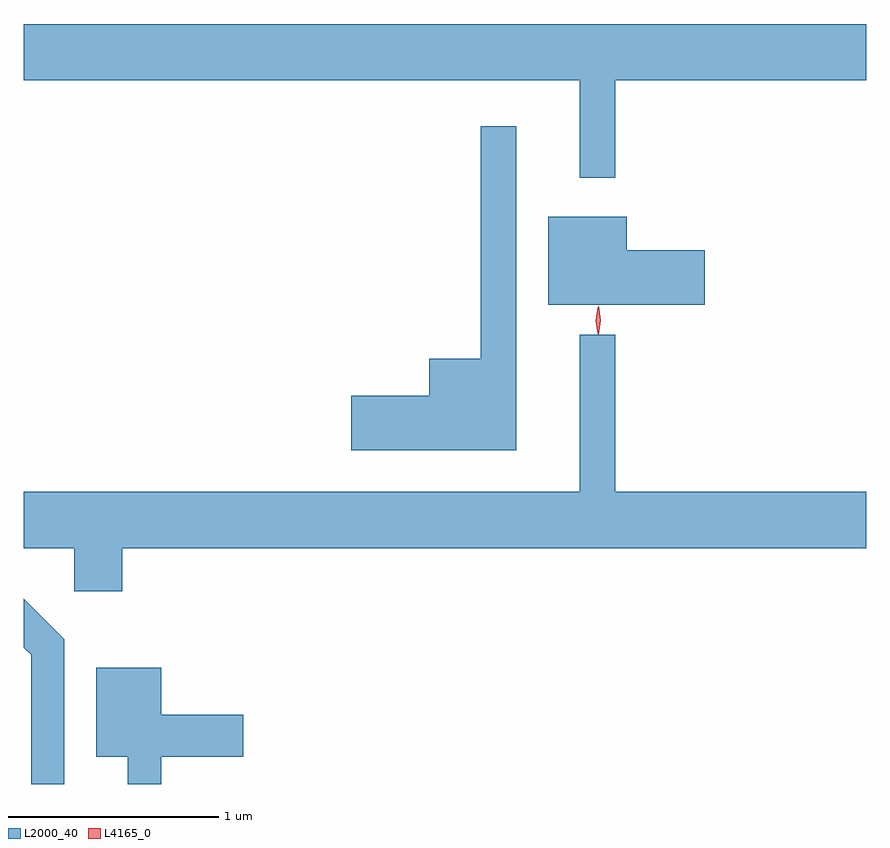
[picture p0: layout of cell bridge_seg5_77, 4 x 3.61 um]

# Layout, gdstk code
import gdstk
lib = gdstk.Library(unit=1e-6, precision=1e-09)
def P(c, l, *ps):  # polygons
    for p in ps: c.add(gdstk.Polygon(p, *l))
L2000_40 = (2000, 40)
L4165_0 = (4165, 0)

bridge_seg5_77 = lib.new_cell('bridge_seg5_77')
P(bridge_seg5_77, L2000_40, [(1225.539,1503.416),(1226.731,1503.416),(1226.731,1503.684),(1222.731,1503.684),(1222.731,1503.416),(1225.371,1503.416),(1225.371,1502.953),(1225.539,1502.953)],
  [(1225.069,1503.198),(1224.901,1503.198),(1224.901,1502.094),(1224.656,1502.094),(1224.656,1501.919),(1224.286,1501.919),(1224.286,1501.661),(1225.069,1501.661)],
  [(1225.964,1502.609),(1225.594,1502.609),(1225.594,1502.769),(1225.221,1502.769),(1225.221,1502.351),(1225.964,1502.351)],
  [(1223.199,1501.196),(1226.731,1501.196),(1226.731,1501.464),(1225.539,1501.464),(1225.539,1502.208),(1225.371,1502.208),(1225.371,1501.464),(1222.731,1501.464),(1222.731,1501.196),(1222.971,1501.196),(1222.971,1500.991),(1223.199,1500.991)],
  [(1222.924,1500.762),(1222.731,1500.955),(1222.731,1500.724),(1222.766,1500.689),(1222.766,1500.076),(1222.924,1500.076)],
  [(1223.384,1500.206),(1223.774,1500.206),(1223.774,1500.404),(1223.384,1500.404),(1223.384,1500.629),(1223.076,1500.629),(1223.076,1500.206),(1223.226,1500.206),(1223.226,1500.076),(1223.384,1500.076)])
P(bridge_seg5_77, L4165_0, [(1225.457,1502.213),(1225.457,1502.214),(1225.447,1502.276),(1225.457,1502.339),(1225.457,1502.34),(1225.458,1502.339),(1225.467,1502.276),(1225.458,1502.214)],
  [(1225.459,1502.21),(1225.459,1502.21),(1225.45,1502.278),(1225.46,1502.346),(1225.461,1502.346),(1225.461,1502.346),(1225.47,1502.278),(1225.46,1502.21)])

lib.write_gds('bridge_seg5_77.gds')
